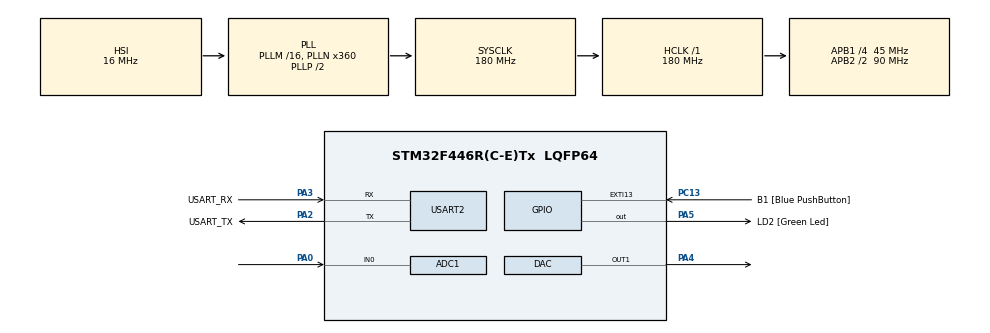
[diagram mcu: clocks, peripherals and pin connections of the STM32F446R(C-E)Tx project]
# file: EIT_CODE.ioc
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ADC1.Channel-1\#ChannelRegularConversion=ADC_CHANNEL_0
ADC1.DMAContinuousRequests=ENABLE
ADC1.ExternalTrigConv=ADC_EXTERNALTRIGCONV_T2_TRGO
ADC1.NbrOfConversionFlag=1
ADC1.Rank-1\#ChannelRegularConversion=1
ADC1.SamplingTime-1\#ChannelRegularConversion=ADC_SAMPLETIME_3CYCLES
ADC1.master=1
DAC.DAC_Trigger=DAC_TRIGGER_T2_TRGO
Dma.ADC1.1.Direction=DMA_PERIPH_TO_MEMORY
Dma.ADC1.1.FIFOMode=DMA_FIFOMODE_DISABLE
Dma.ADC1.1.Instance=DMA2_Stream0
Dma.ADC1.1.MemDataAlignment=DMA_MDATAALIGN_HALFWORD
Dma.ADC1.1.MemInc=DMA_MINC_ENABLE
Dma.ADC1.1.Mode=DMA_CIRCULAR
Dma.ADC1.1.PeriphDataAlignment=DMA_PDATAALIGN_HALFWORD
Dma.ADC1.1.PeriphInc=DMA_PINC_DISABLE
Dma.ADC1.1.Priority=DMA_PRIORITY_VERY_HIGH
Dma.DAC1.0.Direction=DMA_MEMORY_TO_PERIPH
Dma.DAC1.0.FIFOMode=DMA_FIFOMODE_DISABLE
Dma.DAC1.0.Instance=DMA1_Stream5
Dma.DAC1.0.MemDataAlignment=DMA_MDATAALIGN_HALFWORD
Dma.DAC1.0.MemInc=DMA_MINC_ENABLE
Dma.DAC1.0.Mode=DMA_CIRCULAR
Dma.DAC1.0.PeriphDataAlignment=DMA_PDATAALIGN_HALFWORD
Dma.DAC1.0.PeriphInc=DMA_PINC_DISABLE
Dma.DAC1.0.Priority=DMA_PRIORITY_HIGH
Dma.Request0=DAC1
Dma.Request1=ADC1
Mcu.Family=STM32F4
Mcu.Name=STM32F446R(C-E)Tx
Mcu.Package=LQFP64
NVIC.ADC_IRQn=true\:0\:0\:false\:false\:true\:true\:true\:true
NVIC.DMA1_Stream5_IRQn=true\:0\:0\:false\:false\:true\:false\:true\:true
NVIC.DMA2_Stream0_IRQn=true\:0\:0\:false\:false\:true\:false\:true\:true
NVIC.FPU_IRQn=true\:0\:0\:false\:false\:true\:true\:false\:true
NVIC.PriorityGroup=NVIC_PRIORITYGROUP_0
NVIC.TIM2_IRQn=true\:0\:0\:false\:false\:true\:true\:true\:true
NVIC.USART2_IRQn=true\:0\:0\:false\:false\:true\:true\:true\:true
PA0-WKUP.Signal=ADCx_IN0
PA13.GPIO_Label=TMS
PA13.Mode=Serial_Wire
PA13.Signal=SYS_JTMS-SWDIO
PA14.GPIO_Label=TCK
PA14.Mode=Serial_Wire
PA14.Signal=SYS_JTCK-SWCLK
PA2.GPIO_Label=USART_TX
PA2.Mode=Asynchronous
PA2.Signal=USART2_TX
PA3.GPIO_Label=USART_RX
PA3.Mode=Asynchronous
PA3.Signal=USART2_RX
PA4.Signal=COMP_DAC1_group
PA5.GPIO_Label=LD2 [Green Led]
PA5.Signal=GPIO_Output
PB3.GPIO_Label=SWO
PB3.Signal=SYS_JTDO-SWO
PC13.GPIO_Label=B1 [Blue PushButton]
PC13.GPIO_ModeDefaultEXTI=GPIO_MODE_IT_FALLING
PC13.Signal=GPXTI13
PC14-OSC32_IN.Signal=RCC_OSC32_IN
PC15-OSC32_OUT.Signal=RCC_OSC32_OUT
PH0-OSC_IN.Mode=HSE-External-Oscillator
PH0-OSC_IN.Signal=RCC_OSC_IN
PH1-OSC_OUT.Mode=HSE-External-Oscillator
PH1-OSC_OUT.Signal=RCC_OSC_OUT
ProjectManager.HeapSize=0x200
ProjectManager.StackSize=0x400
ProjectManager.TargetToolchain=STM32CubeIDE
RCC.AHBFreq_Value=180000000
RCC.APB1CLKDivider=RCC_HCLK_DIV4
RCC.APB1Freq_Value=45000000
RCC.APB1TimFreq_Value=90000000
RCC.APB2CLKDivider=RCC_HCLK_DIV2
RCC.APB2Freq_Value=90000000
RCC.APB2TimFreq_Value=180000000
RCC.CortexFreq_Value=180000000
RCC.FLatency-AdvancedSettings=FLASH_LATENCY_5
RCC.HCLKFreq_Value=180000000
RCC.HSE_VALUE=8000000
RCC.HSI_VALUE=16000000
RCC.LSE_VALUE=32768
RCC.PLLN=360
RCC.SYSCLKFreq_VALUE=180000000
RCC.SYSCLKSource=RCC_SYSCLKSOURCE_PLLCLK
RCC.USBFreq_Value=180000000
RCC.VCOOutputFreq_Value=360000000
SH.ADCx_IN0.0=ADC1_IN0,IN0
SH.COMP_DAC1_group.0=DAC_OUT1,DAC_OUT1
STMicroelectronics.X-CUBE-ALGOBUILD.1.5.0.LibraryCcDSPOoLibraryJjDSPOoLibrary=true
TIM2.Period=199
TIM2.TIM_MasterOutputTrigger=TIM_TRGO_UPDATE
TIM2.TIM_MasterSlaveMode=TIM_MASTERSLAVEMODE_ENABLE
USART2.VirtualMode=VM_ASYNC
VP_STMicroelectronics.X-CUBE-ALGOBUILD_VS_DSPOoLibraryJjLibrary_1.5.0_1.5.0.Mode=DSPOoLibraryJjLibrary
VP_TIM2_VS_ClockSourceINT.Mode=Internal
board=NUCLEO-F446RE

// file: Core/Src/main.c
/* USER CODE BEGIN Header */
/**
  ******************************************************************************
  * @file           : main.c
  * @brief          : Firmware EIT con filtro de mediana/promedio y fase estable
  ******************************************************************************
  */
/* USER CODE END Header */

#include "main.h"
#include "adc.h"
#include "dac.h"
#include "dma.h"
#include "tim.h"
#include "usart.h"
#include "gpio.h"

/* USER CODE BEGIN Includes */
#include "arm_math.h"
#include "math.h"
#include <stdio.h>
#include <string.h>
#include <stdlib.h> // Requerido para qsort
/* USER CODE END Includes */

/* USER CODE BEGIN PV */
#define DAC_SINE_SAMPLES 8

const uint16_t SineWave_8Points[DAC_SINE_SAMPLES] = {
    2048, /* Angle   0°: 1.65V (Offset central VDD/2) */
    2912, /* Angle  45°: 2.34V */
    3269, /* Angle  90°: 2.63V (Pico Máximo) */
    2912, /* Angle 135°: 2.34V */
    2048, /* Angle 180°: 1.65V */
    1184, /* Angle 225°: 0.96V */
     827, /* Angle 270°: 0.67V (Pico Mínimo) */
    1184  /* Angle 315°: 0.96V */
};

#define ADC_BUF_LEN 1024
#define FFT_SIZE    1024
#define TARGET_BIN  128 /* (56250 Hz / 450000 Hz) * 1024 = 128 */

uint16_t adc_buffer[ADC_BUF_LEN];
volatile uint8_t adc_ready_flag = 0;

float32_t fft_input[FFT_SIZE];
float32_t fft_output[FFT_SIZE];
float32_t hanning_window[FFT_SIZE];

arm_rfft_fast_instance_f32 fft_handler;

/* Variables para almacenar los datos procesados */
float32_t real_component = 0.0f;
float32_t imag_component = 0.0f;
float32_t magnitude_raw   = 0.0f;
float32_t phase_rad       = 0.0f;
float32_t phase_deg       = 0.0f;

/* Retardo sistemático del AFE */
const float32_t DELTA_PHASE_CALIB = 124.75f * (M_PI / 180.0f);

/* Arreglos para filtrado por mediana/promedio en ~500 ms (220 muestras) */
#define AVG_SAMPLES 220
float32_t mag_history[AVG_SAMPLES];
float32_t phase_history[AVG_SAMPLES];
uint16_t sample_count = 0;

/* USER CODE END PV */

void SystemClock_Config(void);
void Error_Handler(void); /* Declaración explícita global para adc.c, dac.c, tim.c, etc. */
/* USER CODE BEGIN PFP */
int compare_floats(const void *a, const void *b);
/* USER CODE END PFP */

/* Private user code --------------------------------------------------------- */
/* USER CODE BEGIN 0 */
/* Función auxiliar para ordenar arreglos de menor a mayor */
int compare_floats(const void *a, const void *b)
{
    float32_t diff = *(float32_t*)a - *(float32_t*)b;
    if (diff < 0.0f) return -1;
    if (diff > 0.0f) return 1;
    return 0;
}
/* USER CODE END 0 */

int main(void)
{
  /* MCU Configuration--------------------------------------------------------*/

  /* Reset of all peripherals, Initializes the Flash interface and the Systick. */
  HAL_Init();

  /* Configure the system clock */
  SystemClock_Config();

  /* Initialize all configured peripherals */
  MX_GPIO_Init();
  MX_DMA_Init();
  MX_DAC_Init();
  MX_TIM2_Init();
  MX_ADC1_Init();
  MX_USART2_UART_Init();

  /* USER CODE BEGIN 2 */
  /* 1. Precalcular Ventana de Hanning */
  for (uint16_t i = 0; i < FFT_SIZE; i++)
  {
      hanning_window[i] = 0.5f * (1.0f - cosf((2.0f * M_PI * i) / (FFT_SIZE - 1)));
  }

  /* 2. Inicializar RFFT de 1024 puntos */
  arm_rfft_fast_init_f32(&fft_handler, FFT_SIZE);

  /* 3. Iniciar Temporizador a 450 kHz */
  HAL_TIM_Base_Start(&htim2);

  /* 4. Iniciar DAC por DMA */
  HAL_DAC_Start_DMA(&hdac, DAC_CHANNEL_1, (uint32_t*)SineWave_8Points, 8, DAC_ALIGN_12B_R);

  /* 5. Iniciar ADC por DMA (1024 muestras) */
  HAL_ADC_Start_DMA(&hadc1, (uint32_t*)adc_buffer, ADC_BUF_LEN);
  /* USER CODE END 2 */

  /* Infinite loop */
  /* USER CODE BEGIN WHILE */
  while (1)
  {
      if (adc_ready_flag)
      {
          adc_ready_flag = 0;

          /* 1. Centrar muestras e imbuir Ventana de Hanning */
          for (uint16_t i = 0; i < FFT_SIZE; i++)
          {
              float32_t sample_centered = ((float32_t)adc_buffer[i]) - 2048.0f;
              fft_input[i] = sample_centered * hanning_window[i];
          }

          /* 2. FFT de 1024 puntos */
          arm_rfft_fast_f32(&fft_handler, fft_input, fft_output, 0);

          /* 3. Extracción del BIN 128 (56.25 kHz) */
          real_component = fft_output[2 * TARGET_BIN];
          imag_component = fft_output[2 * TARGET_BIN + 1];

          /* 4. Magnitud y Fase */
          magnitude_raw = sqrtf(real_component * real_component + imag_component * imag_component);
          phase_rad = atan2f(imag_component, real_component) - DELTA_PHASE_CALIB;
          phase_deg = phase_rad * (180.0f / M_PI);

          /* NORMALIZACIÓN CIRCULAR DE FASE AL RANGO [-180, +180] */
          while (phase_deg > 180.0f)  phase_deg -= 360.0f;
          while (phase_deg < -180.0f) phase_deg += 360.0f;

          /* Almacenar en histórico para el filtro por mediana */
          mag_history[sample_count] = magnitude_raw;
          phase_history[sample_count] = phase_deg;
          sample_count++;

          /* Al completar ~500 ms (220 ráfagas) */
          if (sample_count >= AVG_SAMPLES)
          {
              /* Ordenar históricamente */
              qsort(mag_history, AVG_SAMPLES, sizeof(float32_t), compare_floats);
              qsort(phase_history, AVG_SAMPLES, sizeof(float32_t), compare_floats);

              /* Promediar el 70% central descartando picos (outliers) */
              uint16_t start_idx = (uint16_t)(AVG_SAMPLES * 0.15f);
              uint16_t end_idx   = (uint16_t)(AVG_SAMPLES * 0.85f);
              uint16_t valid_count = end_idx - start_idx;

              float32_t mag_sum = 0.0f;
              float32_t phase_sum = 0.0f;

              for (uint16_t i = start_idx; i < end_idx; i++)
              {
                  mag_sum += mag_history[i];
                  phase_sum += phase_history[i];
              }

              float32_t mag_clean = mag_sum / valid_count;
              float32_t phase_clean = phase_sum / valid_count;

              /* Transmitir trama limpia cada 500 ms por USART2 */
              char uart_buf[64];
              int len = sprintf(uart_buf, "%.2f,%.2f\r\n", mag_clean, phase_clean);
              HAL_UART_Transmit(&huart2, (uint8_t*)uart_buf, len, 10);

              sample_count = 0;
          }
      }

    /* USER CODE END WHILE */

  }
}

void SystemClock_Config(void)
{
  RCC_OscInitTypeDef RCC_OscInitStruct = {0};
  RCC_ClkInitTypeDef RCC_ClkInitStruct = {0};

  /** Configure the main internal regulator output voltage
  */
  __HAL_RCC_PWR_CLK_ENABLE();
  __HAL_PWR_VOLTAGESCALING_CONFIG(PWR_REGULATOR_VOLTAGE_SCALE1);

  /** Initializes the RCC Oscillators according to the specified parameters
  * in the RCC_OscInitTypeDef structure.
  */
  RCC_OscInitStruct.OscillatorType = RCC_OSCILLATORTYPE_HSI;
  RCC_OscInitStruct.HSIState = RCC_HSI_ON;
  RCC_OscInitStruct.HSICalibrationValue = RCC_HSICALIBRATION_DEFAULT;
  RCC_OscInitStruct.PLL.PLLState = RCC_PLL_ON;
  RCC_OscInitStruct.PLL.PLLSource = RCC_PLLSOURCE_HSI;
  RCC_OscInitStruct.PLL.PLLM = 16;
  RCC_OscInitStruct.PLL.PLLN = 360;
  RCC_OscInitStruct.PLL.PLLP = RCC_PLLP_DIV2;
  RCC_OscInitStruct.PLL.PLLQ = 2;
  RCC_OscInitStruct.PLL.PLLR = 2;
  if (HAL_RCC_OscConfig(&RCC_OscInitStruct) != HAL_OK)
  {
    Error_Handler();
  }

  /** Activate the Over-Drive mode
  */
  if (HAL_PWREx_EnableOverDrive() != HAL_OK)
  {
    Error_Handler();
  }

  /** Initializes the CPU, AHB and APB buses clocks
  */
  RCC_ClkInitStruct.ClockType = RCC_CLOCKTYPE_HCLK|RCC_CLOCKTYPE_SYSCLK
                              |RCC_CLOCKTYPE_PCLK1|RCC_CLOCKTYPE_PCLK2;
  RCC_ClkInitStruct.SYSCLKSource = RCC_SYSCLKSOURCE_PLLCLK;
  RCC_ClkInitStruct.AHBCLKDivider = RCC_SYSCLK_DIV1;
  RCC_ClkInitStruct.APB1CLKDivider = RCC_HCLK_DIV4;
  RCC_ClkInitStruct.APB2CLKDivider = RCC_HCLK_DIV2;

  if (HAL_RCC_ClockConfig(&RCC_ClkInitStruct, FLASH_LATENCY_5) != HAL_OK)
  {
    Error_Handler();
  }
}

/* USER CODE BEGIN 4 */
void HAL_ADC_ConvCpltCallback(ADC_HandleTypeDef* hadc)
{
    if(hadc->Instance == ADC1)
    {
        adc_ready_flag = 1; /* Señalizar al bucle principal */
    }
}
/* USER CODE END 4 */

void Error_Handler(void)
{
  __disable_irq();
  while (1)
  {
  }
}
